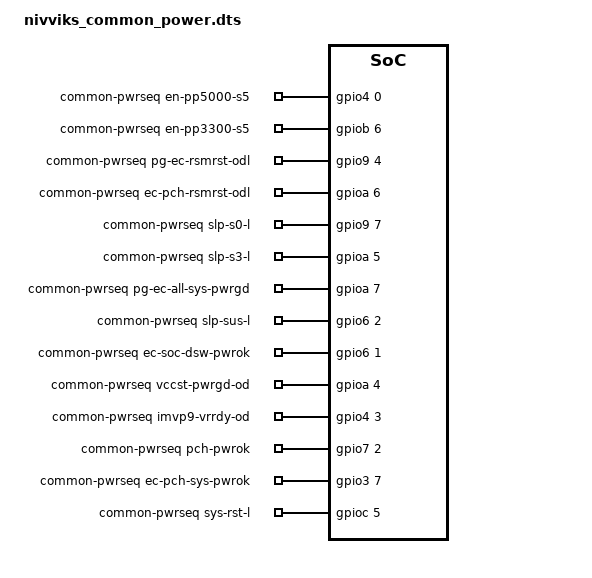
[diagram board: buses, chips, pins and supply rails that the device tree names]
/* Copyright 2022 The Chromium OS Authors. All rights reserved.
 * Use of this source code is governed by a BSD-style license that can be
 * found in the LICENSE file.
 */

/ {
	common-pwrseq {
		compatible = "intel,ap-pwrseq";

		sys-pwrok-delay = <10>;
		all-sys-pwrgd-timeout = <20>;

		en-pp5000-s5-gpios = <&gpio4 0 0>;
		en-pp3300-s5-gpios = <&gpiob 6 0>;
		pg-ec-rsmrst-odl-gpios = <&gpio9 4 GPIO_PULL_UP>;
		ec-pch-rsmrst-odl-gpios = <&gpioa 6 0>;
		slp-s0-l-gpios = <&gpio9 7 0>;
		slp-s3-l-gpios = <&gpioa 5 0>;
		pg-ec-all-sys-pwrgd-gpios = <&gpioa 7 0>;
		slp-sus-l-gpios = <&gpio6 2 0>;
		ec-soc-dsw-pwrok-gpios = <&gpio6 1 0>;

		vccst-pwrgd-od-gpios = <&gpioa 4 GPIO_OPEN_DRAIN>;
		imvp9-vrrdy-od-gpios = <&gpio4 3 0>;
		pch-pwrok-gpios = <&gpio7 2 GPIO_OPEN_DRAIN>;
		ec-pch-sys-pwrok-gpios = <&gpio3 7 0>;
		sys-rst-l-gpios = <&gpioc 5 GPIO_OPEN_DRAIN>;
	};
};
